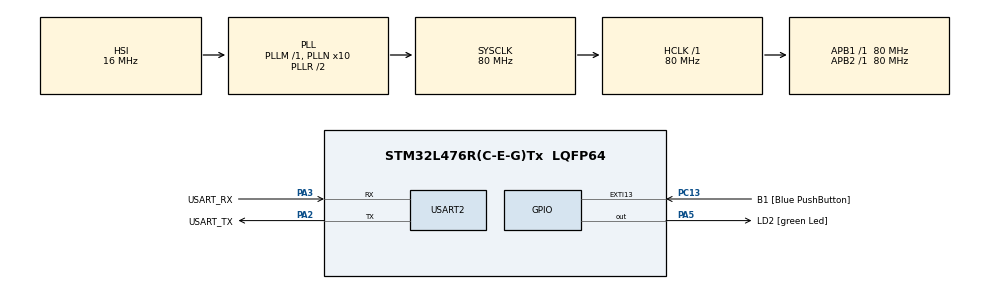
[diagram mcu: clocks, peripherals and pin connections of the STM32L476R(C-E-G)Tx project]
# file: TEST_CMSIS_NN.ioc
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Mcu.Family=STM32L4
Mcu.Name=STM32L476R(C-E-G)Tx
Mcu.Package=LQFP64
NVIC.PriorityGroup=NVIC_PRIORITYGROUP_4
PA13\ (JTMS-SWDIO).GPIO_Label=TMS
PA13\ (JTMS-SWDIO).Mode=Serial_Wire
PA13\ (JTMS-SWDIO).Signal=SYS_JTMS-SWDIO
PA14\ (JTCK-SWCLK).GPIO_Label=TCK
PA14\ (JTCK-SWCLK).Mode=Serial_Wire
PA14\ (JTCK-SWCLK).Signal=SYS_JTCK-SWCLK
PA2.GPIO_Label=USART_TX
PA2.GPIO_Mode=GPIO_MODE_AF_PP
PA2.GPIO_PuPd=GPIO_NOPULL
PA2.GPIO_Speed=GPIO_SPEED_FREQ_VERY_HIGH
PA2.Mode=Asynchronous
PA2.Signal=USART2_TX
PA3.GPIO_Label=USART_RX
PA3.GPIO_Mode=GPIO_MODE_AF_PP
PA3.GPIO_PuPd=GPIO_NOPULL
PA3.GPIO_Speed=GPIO_SPEED_FREQ_VERY_HIGH
PA3.Mode=Asynchronous
PA3.Signal=USART2_RX
PA5.GPIO_Label=LD2 [green Led]
PA5.GPIO_ModeDefaultOutputPP=GPIO_MODE_OUTPUT_PP
PA5.GPIO_PuPd=GPIO_NOPULL
PA5.GPIO_Speed=GPIO_SPEED_FREQ_LOW
PA5.Signal=GPIO_Output
PB3\ (JTDO-TRACESWO).GPIO_Label=SWO
PB3\ (JTDO-TRACESWO).Signal=SYS_JTDO-SWO
PC13.GPIO_Label=B1 [Blue PushButton]
PC13.GPIO_ModeDefaultEXTI=GPIO_MODE_IT_FALLING
PC13.GPIO_PuPd=GPIO_NOPULL
PC13.Signal=GPXTI13
PC14-OSC32_IN\ (PC14).Mode=LSE-External-Oscillator
PC14-OSC32_IN\ (PC14).Signal=RCC_OSC32_IN
PC15-OSC32_OUT\ (PC15).Mode=LSE-External-Oscillator
PC15-OSC32_OUT\ (PC15).Signal=RCC_OSC32_OUT
PH0-OSC_IN\ (PH0).Signal=RCC_OSC_IN
PH1-OSC_OUT\ (PH1).Signal=RCC_OSC_OUT
ProjectManager.HeapSize=0x200
ProjectManager.StackSize=0x400
ProjectManager.TargetToolchain=STM32CubeIDE
RCC.ADCFreq_Value=64000000
RCC.AHBFreq_Value=80000000
RCC.APB1Freq_Value=80000000
RCC.APB1TimFreq_Value=80000000
RCC.APB2Freq_Value=80000000
RCC.APB2TimFreq_Value=80000000
RCC.CortexFreq_Value=80000000
RCC.HCLKFreq_Value=80000000
RCC.HSE_VALUE=8000000
RCC.HSI_VALUE=16000000
RCC.MSI_VALUE=4000000
RCC.PLLN=10
RCC.PLLSourceVirtual=RCC_PLLSOURCE_HSI
RCC.PREFETCH_ENABLE=1
RCC.SYSCLKFreq_VALUE=80000000
RCC.SYSCLKSource=RCC_SYSCLKSOURCE_PLLCLK
RCC.USBFreq_Value=64000000
RCC.VCOOutputFreq_Value=160000000
USART2.VirtualMode-Asynchronous=VM_ASYNC
board=NUCLEO-L476RG

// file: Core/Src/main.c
/* USER CODE BEGIN Header */
/**
  ******************************************************************************
  * @file           : main.c
  * @brief          : Main program body
  ******************************************************************************
  * @attention
  *
  * Copyright (c) 2024 STMicroelectronics.
  * All rights reserved.
  *
  * This software is licensed under terms that can be found in the LICENSE file
  * in the root directory of this software component.
  * If no LICENSE file comes with this software, it is provided AS-IS.
  *
  ******************************************************************************
  */
/* USER CODE END Header */
#include "main.h"
#include "arm_math.h"

#include "arm_nnfunctions.h"
#include "arm_nnsupportfunctions.h"

#include "biases_data.h"
#include "config_data.h"
#include "input_data.h"
#include "output_mult_data.h"
#include "output_ref_data.h"
#include "output_shift_data.h"
#include "weights_data.h"

UART_HandleTypeDef huart2;

/* USER CODE BEGIN PV */
//#define CMSIS_NN_USE_SINGLE_ROUNDING 1
// 9x9x3 image data filled with incremental values
#define BASIC_OUT_CH 1
#define BASIC_IN_CH 1
#define BASIC_INPUT_W 3
#define BASIC_INPUT_H 3
#define BASIC_DST_SIZE 1
#define BASIC_INPUT_SIZE 9
#define BASIC_OUT_ACTIVATION_MIN -128
#define BASIC_OUT_ACTIVATION_MAX 127
#define BASIC_INPUT_BATCHES 1
#define BASIC_FILTER_X 3
#define BASIC_FILTER_Y 3
#define BASIC_STRIDE_X 1
#define BASIC_STRIDE_Y 1
#define BASIC_PAD_X 0
#define BASIC_PAD_Y 0
#define BASIC_OUTPUT_W 1
#define BASIC_OUTPUT_H 1
#define BASIC_INPUT_OFFSET 128
#define BASIC_OUTPUT_OFFSET 127
#define BASIC_DILATION_X 1
#define BASIC_DILATION_Y 1

/* USER CODE END PV */

void SystemClock_Config(void);
static void MX_GPIO_Init(void);
static void MX_USART2_UART_Init(void);

int main(void)
{

  /* MCU Configuration--------------------------------------------------------*/

  /* Reset of all peripherals, Initializes the Flash interface and the Systick. */
  HAL_Init();

  /* Configure the system clock */
  SystemClock_Config();

  /* Initialize all configured peripherals */
  MX_GPIO_Init();
  MX_USART2_UART_Init();

  /* Infinite loop */
  while (1)
  {

    /* USER CODE BEGIN 3 */
	  	uint8_t start[] = "STAR EXECUTION\r\n"; //Data to send
		HAL_UART_Transmit(&huart2,start,sizeof(start),10);// Sending in normal mode

		HAL_GPIO_WritePin(LD2_GPIO_Port, LD2_Pin, GPIO_PIN_SET); //SET Led to measure latency

	    // const arm_cmsis_nn_status expected = ARM_CMSIS_NN_SUCCESS;
	    int8_t output[BASIC_DST_SIZE] = {0};

	    cmsis_nn_context ctx;
	    cmsis_nn_conv_params conv_params;
	    cmsis_nn_per_channel_quant_params quant_params;
	    cmsis_nn_dims input_dims;
	    cmsis_nn_dims filter_dims;
	    cmsis_nn_dims bias_dims;
	    cmsis_nn_dims output_dims;

	    const int32_t *bias_data = basic_biases;
	    for(int i=0; i < 9; i++) { basic_weights[i] = 1; }
	    const int8_t *kernel_data = basic_weights;
	    for(int i=0; i < 9; i++) { basic_input[i] = 1; }
	    const int8_t *input_data = basic_input;
	    const int8_t *output_ref = basic_output_ref;
	    const int32_t output_ref_size = BASIC_DST_SIZE;

	    input_dims.n = BASIC_INPUT_BATCHES;
	    input_dims.w = BASIC_INPUT_W;
	    input_dims.h = BASIC_INPUT_H;
	    input_dims.c = BASIC_IN_CH;
	    filter_dims.w = BASIC_FILTER_X;
	    filter_dims.h = BASIC_FILTER_Y;
	    filter_dims.c = BASIC_IN_CH;
	    output_dims.w = BASIC_OUTPUT_W;
	    output_dims.h = BASIC_OUTPUT_H;
	    output_dims.c = BASIC_OUT_CH;

	    conv_params.padding.w = BASIC_PAD_X;
	    conv_params.padding.h = BASIC_PAD_Y;
	    conv_params.stride.w = BASIC_STRIDE_X;
	    conv_params.stride.h = BASIC_STRIDE_Y;
	    conv_params.dilation.w = BASIC_DILATION_X;
	    conv_params.dilation.h = BASIC_DILATION_Y;

	    conv_params.input_offset = 0; // BASIC_INPUT_OFFSET;
	    conv_params.output_offset = 0; // BASIC_OUTPUT_OFFSET;
	    conv_params.activation.min = BASIC_OUT_ACTIVATION_MIN;
	    conv_params.activation.max = BASIC_OUT_ACTIVATION_MAX;
	    quant_params.multiplier = (int32_t *)basic_output_mult;
	    quant_params.shift = (int32_t *)basic_output_shift;

	    int32_t buf_size = arm_convolve_s8_get_buffer_size(&input_dims, &filter_dims);
	    ctx.buf = malloc(buf_size);
	    ctx.size = 0;

	    arm_convolve_s8(&ctx,
					 &conv_params,
					 &quant_params,
					 &input_dims,
					 input_data,
					 &filter_dims,
					 kernel_data,
					 &bias_dims,
					 bias_data,
					 &output_dims,
					 output
		);

	    if (ctx.buf)
	    {
	        // The caller is responsible to clear the scratch buffers for security reasons if applicable.
	        memset(ctx.buf, 0, buf_size);
	        free(ctx.buf);
	    }

		// Check convolution status
//		if (status != ARM_CMSIS_NN_SUCCESS) {
//			char res[100];
//			sprintf(res, "Failed: %d\n", status);
//			HAL_UART_Transmit(&huart2, (uint8_t*)res, strlen(res), 10);
//		} else {
//			char *res = "Successful\n";
//			HAL_UART_Transmit(&huart2, (uint8_t*)res, strlen(res), 10);
//		}
//
//		HAL_GPIO_WritePin(LD2_GPIO_Port, LD2_Pin, GPIO_PIN_RESET);

//		for (int i = 0; i < 10; i++) {
//			uint8_t res[20];
//			snprintf((char *)res, sizeof(res), "%d: %d\n\r", i, output_data[i]);
//
//			// Transmit only the length of the formatted string
//			HAL_UART_Transmit(&huart2, res, strlen((char *)res), 10);
//		}

		HAL_Delay(1000);
  }
  /* USER CODE END 3 */
}

void SystemClock_Config(void)
{
  RCC_OscInitTypeDef RCC_OscInitStruct = {0};
  RCC_ClkInitTypeDef RCC_ClkInitStruct = {0};

  /** Configure the main internal regulator output voltage
  */
  if (HAL_PWREx_ControlVoltageScaling(PWR_REGULATOR_VOLTAGE_SCALE1) != HAL_OK)
  {
    Error_Handler();
  }

  /** Initializes the RCC Oscillators according to the specified parameters
  * in the RCC_OscInitTypeDef structure.
  */
  RCC_OscInitStruct.OscillatorType = RCC_OSCILLATORTYPE_HSI;
  RCC_OscInitStruct.HSIState = RCC_HSI_ON;
  RCC_OscInitStruct.HSICalibrationValue = RCC_HSICALIBRATION_DEFAULT;
  RCC_OscInitStruct.PLL.PLLState = RCC_PLL_ON;
  RCC_OscInitStruct.PLL.PLLSource = RCC_PLLSOURCE_HSI;
  RCC_OscInitStruct.PLL.PLLM = 1;
  RCC_OscInitStruct.PLL.PLLN = 10;
  RCC_OscInitStruct.PLL.PLLP = RCC_PLLP_DIV7;
  RCC_OscInitStruct.PLL.PLLQ = RCC_PLLQ_DIV2;
  RCC_OscInitStruct.PLL.PLLR = RCC_PLLR_DIV2;
  if (HAL_RCC_OscConfig(&RCC_OscInitStruct) != HAL_OK)
  {
    Error_Handler();
  }

  /** Initializes the CPU, AHB and APB buses clocks
  */
  RCC_ClkInitStruct.ClockType = RCC_CLOCKTYPE_HCLK|RCC_CLOCKTYPE_SYSCLK
                              |RCC_CLOCKTYPE_PCLK1|RCC_CLOCKTYPE_PCLK2;
  RCC_ClkInitStruct.SYSCLKSource = RCC_SYSCLKSOURCE_PLLCLK;
  RCC_ClkInitStruct.AHBCLKDivider = RCC_SYSCLK_DIV1;
  RCC_ClkInitStruct.APB1CLKDivider = RCC_HCLK_DIV1;
  RCC_ClkInitStruct.APB2CLKDivider = RCC_HCLK_DIV1;

  if (HAL_RCC_ClockConfig(&RCC_ClkInitStruct, FLASH_LATENCY_4) != HAL_OK)
  {
    Error_Handler();
  }
}

static void MX_USART2_UART_Init(void)
{

  huart2.Instance = USART2;
  huart2.Init.BaudRate = 115200;
  huart2.Init.WordLength = UART_WORDLENGTH_8B;
  huart2.Init.StopBits = UART_STOPBITS_1;
  huart2.Init.Parity = UART_PARITY_NONE;
  huart2.Init.Mode = UART_MODE_TX_RX;
  huart2.Init.HwFlowCtl = UART_HWCONTROL_NONE;
  huart2.Init.OverSampling = UART_OVERSAMPLING_16;
  huart2.Init.OneBitSampling = UART_ONE_BIT_SAMPLE_DISABLE;
  huart2.AdvancedInit.AdvFeatureInit = UART_ADVFEATURE_NO_INIT;
  if (HAL_UART_Init(&huart2) != HAL_OK)
  {
    Error_Handler();
  }

}

static void MX_GPIO_Init(void)
{
  GPIO_InitTypeDef GPIO_InitStruct = {0};

  /* GPIO Ports Clock Enable */
  __HAL_RCC_GPIOC_CLK_ENABLE();
  __HAL_RCC_GPIOH_CLK_ENABLE();
  __HAL_RCC_GPIOA_CLK_ENABLE();
  __HAL_RCC_GPIOB_CLK_ENABLE();

  /*Configure GPIO pin Output Level */
  HAL_GPIO_WritePin(LD2_GPIO_Port, LD2_Pin, GPIO_PIN_RESET);

  /*Configure GPIO pin : B1_Pin */
  GPIO_InitStruct.Pin = B1_Pin;
  GPIO_InitStruct.Mode = GPIO_MODE_IT_FALLING;
  GPIO_InitStruct.Pull = GPIO_NOPULL;
  HAL_GPIO_Init(B1_GPIO_Port, &GPIO_InitStruct);

  /*Configure GPIO pin : LD2_Pin */
  GPIO_InitStruct.Pin = LD2_Pin;
  GPIO_InitStruct.Mode = GPIO_MODE_OUTPUT_PP;
  GPIO_InitStruct.Pull = GPIO_NOPULL;
  GPIO_InitStruct.Speed = GPIO_SPEED_FREQ_LOW;
  HAL_GPIO_Init(LD2_GPIO_Port, &GPIO_InitStruct);

}

void Error_Handler(void)
{
  __disable_irq();
  while (1)
  {
  }
}
